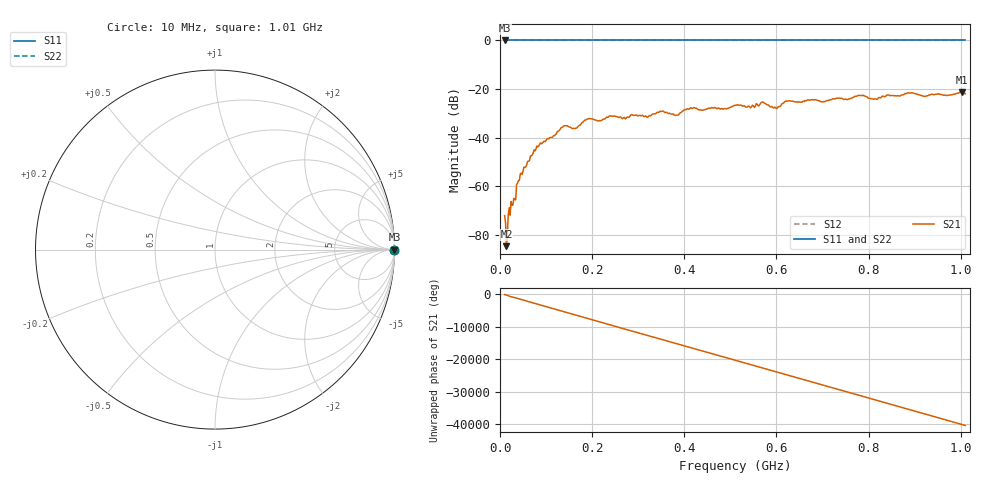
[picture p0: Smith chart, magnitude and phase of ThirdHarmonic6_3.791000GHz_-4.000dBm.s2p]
! 8/17/2025 1:05:32 PM
! C:\ANRITSUVNA\TEMP\TEMP.S2P
! CHANNEL.1
! TR.MEASUREMENT
! RAW.DATA
! RF.CORRECTION.OFF
! AVERAGING.OFF
! IF.BANDWIDTH: 5KHZ
! SWEEPTYPE:  FREQ.SWEEP(Linear)
! Reference Plane Port Info
! PORT:  PORT1  PORT2
! DISTANCE:  0  m  0  m
! TIME:  0  s  0  s
! PHASE.OFFSET:  0  deg.  0  deg.
! LOSS:  0  dB  0  dB
! REF.LOSS:  0  dB  0  dB
! REF.FREQ:  0  Hz  0  Hz
! Power Info
! POWER:  -20  dBm  -20  dBm
! EFF.POWER:  -20  dBm  -20  dBm
! SOURCE.ATTEN:  0  dB  0  dB
! TEST.ATTEN:  0  dB  0  dB
# GHZ S RI R 50.0
! FREQ.GHZ  S11RE  S11IM  S21RE  S21IM  S12RE  S12IM  S22RE  S22IM
!; PortSelection: Port_12
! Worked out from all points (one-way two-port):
!   501 points, 10 MHz to 1.01 GHz, reference 50 ohm
!   highest |S21| = -21.26 dB at 1.002 GHz (marker M1); lowest = -84.6 dB at 14 MHz (marker M2)
!   lowest |S11| = 0.0 dB at 10 MHz (marker M3)
!   |S11| at or under -10 dB: nowhere
!   |S22| runs from 0.0 to 0.0 dB; largest |S21 - S12| = 1.1
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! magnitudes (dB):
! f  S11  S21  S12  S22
! 10 MHz  0.0  -72.0  0.0  0.0
! 14 MHz  0.0  -84.6  0.0  0.0
! 18 MHz  0.0  -71.6  0.0  0.0
! 22 MHz  0.0  -71.8  0.0  0.0
! 30 MHz  0.0  -64.9  0.0  0.0
! 40 MHz  0.0  -57.6  0.0  0.0
! 76 MHz  0.0  -45.4  0.0  0.0
! 136 MHz  0.0  -35.6  0.0  0.0
! 162 MHz  0.0  -36.2  0.0  0.0
! 178 MHz  0.0  -33.8  0.0  0.0
! 192 MHz  0.0  -32.2  0.0  0.0
! 344 MHz  0.0  -29.6  0.0  0.0
! 384 MHz  0.0  -30.7  0.0  0.0
! 418 MHz  0.0  -28.0  0.0  0.0
! 510 MHz  0.0  -26.6  0.0  0.0
! 570 MHz  0.0  -25.3  0.0  0.0
! 598 MHz  0.0  -27.6  0.0  0.0
! 622 MHz  0.0  -24.9  0.0  0.0
! 678 MHz  0.0  -24.4  0.0  0.0
! 844 MHz  0.0  -22.5  0.0  0.0
! 1.002 GHz  0.0  -21.3  0.0  0.0
! 1.01 GHz  0.0  -21.9  0.0  0.0
